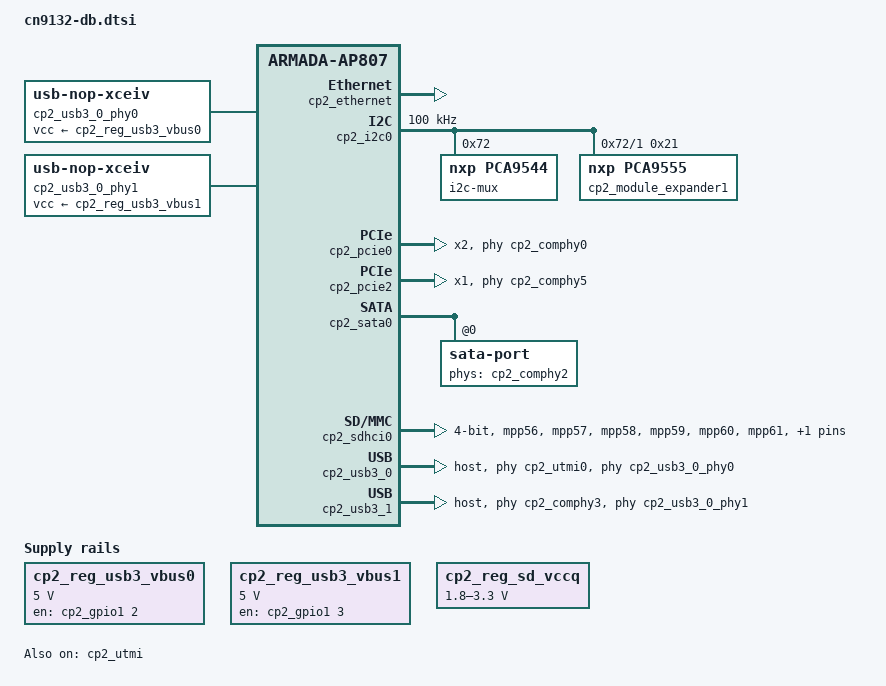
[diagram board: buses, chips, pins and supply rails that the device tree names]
// SPDX-License-Identifier: (GPL-2.0+ OR MIT)
/*
 * Copyright (C) 2020 Marvell International Ltd.
 *
 * Device tree for the CN9132-DB board.
 */

#include "cn9131-db.dtsi"

/ {
	compatible = "marvell,cn9132", "marvell,cn9131", "marvell,cn9130",
		     "marvell,armada-ap807-quad", "marvell,armada-ap807";

	aliases {
		gpio5 = &cp2_gpio1;
		gpio6 = &cp2_gpio2;
		ethernet5 = &cp2_eth0;
	};

	cp2_reg_usb3_vbus0: cp2_usb3_vbus@0 {
		compatible = "regulator-fixed";
		regulator-name = "cp2-xhci0-vbus";
		regulator-min-microvolt = <5000000>;
		regulator-max-microvolt = <5000000>;
		enable-active-high;
		gpio = <&cp2_gpio1 2 GPIO_ACTIVE_HIGH>;
	};

	cp2_usb3_0_phy0: cp2_usb3_phy0 {
		compatible = "usb-nop-xceiv";
		vcc-supply = <&cp2_reg_usb3_vbus0>;
	};

	cp2_reg_usb3_vbus1: cp2_usb3_vbus@1 {
		compatible = "regulator-fixed";
		regulator-name = "cp2-xhci1-vbus";
		regulator-min-microvolt = <5000000>;
		regulator-max-microvolt = <5000000>;
		enable-active-high;
		gpio = <&cp2_gpio1 3 GPIO_ACTIVE_HIGH>;
	};

	cp2_usb3_0_phy1: cp2_usb3_phy1 {
		compatible = "usb-nop-xceiv";
		vcc-supply = <&cp2_reg_usb3_vbus1>;
	};

	cp2_reg_sd_vccq: cp2_sd_vccq@0 {
		compatible = "regulator-gpio";
		regulator-name = "cp2_sd_vcc";
		regulator-min-microvolt = <1800000>;
		regulator-max-microvolt = <3300000>;
		gpios = <&cp2_gpio2 17 GPIO_ACTIVE_HIGH>;
		states = <1800000 0x1 3300000 0x0>;
	};

	cp2_sfp_eth0: sfp-eth0 {
		compatible = "sff,sfp";
		i2c-bus = <&cp2_sfpp0_i2c>;
		los-gpios = <&cp2_module_expander1 11 GPIO_ACTIVE_HIGH>;
		mod-def0-gpios = <&cp2_module_expander1 10 GPIO_ACTIVE_LOW>;
		tx-disable-gpios = <&cp2_module_expander1 9 GPIO_ACTIVE_HIGH>;
		tx-fault-gpios = <&cp2_module_expander1 8 GPIO_ACTIVE_HIGH>;
		/*
		 * SFP cages are unconnected on early PCBs because of an the I2C
		 * lanes not being connected. Prevent the port for being
		 * unusable by disabling the SFP node.
		 */
		status = "disabled";
	};
};

/*
 * Instantiate the second slave CP115
 */

#define CP11X_NAME		cp2
#define CP11X_BASE		f6000000
#define CP11X_PCIEx_MEM_BASE(iface) (0xe5000000 + (iface * 0x1000000))
#define CP11X_PCIEx_MEM_SIZE(iface) 0xf00000
#define CP11X_PCIE0_BASE	f6600000
#define CP11X_PCIE1_BASE	f6620000
#define CP11X_PCIE2_BASE	f6640000

#include "armada-cp115.dtsi"

#undef CP11X_NAME
#undef CP11X_BASE
#undef CP11X_PCIEx_MEM_BASE
#undef CP11X_PCIEx_MEM_SIZE
#undef CP11X_PCIE0_BASE
#undef CP11X_PCIE1_BASE
#undef CP11X_PCIE2_BASE

&cp2_crypto {
	status = "disabled";
};

&cp2_ethernet {
	status = "okay";
};

/* SLM-1521-V2, CON9 */
&cp2_eth0 {
	status = "disabled";
	phy-mode = "10gbase-r";
	/* Generic PHY, providing serdes lanes */
	phys = <&cp2_comphy4 0>;
	managed = "in-band-status";
	sfp = <&cp2_sfp_eth0>;
};

&cp2_gpio1 {
	status = "okay";
};

&cp2_gpio2 {
	status = "okay";
};

&cp2_i2c0 {
	clock-frequency = <100000>;

	/* SLM-1521-V2 - U3 */
	i2c-mux@72 {
		compatible = "nxp,pca9544";
		#address-cells = <1>;
		#size-cells = <0>;
		reg = <0x72>;
		cp2_sfpp0_i2c: i2c@0 {
			#address-cells = <1>;
			#size-cells = <0>;
			reg = <0>;
		};

		i2c@1 {
			#address-cells = <1>;
			#size-cells = <0>;
			reg = <1>;
			/* U12 */
			cp2_module_expander1: pca9555@21 {
				compatible = "nxp,pca9555";
				pinctrl-names = "default";
				gpio-controller;
				#gpio-cells = <2>;
				reg = <0x21>;
			};
		};
	};
};

/* SLM-1521-V2, CON6 */
&cp2_pcie0 {
	status = "okay";
	num-lanes = <2>;
	num-viewport = <8>;
	/* Generic PHY, providing serdes lanes */
	phys = <&cp2_comphy0 0
		&cp2_comphy1 0>;
};

/* SLM-1521-V2, CON8 */
&cp2_pcie2 {
	status = "okay";
	num-lanes = <1>;
	num-viewport = <8>;
	/* Generic PHY, providing serdes lanes */
	phys = <&cp2_comphy5 2>;
};

&cp2_sata0 {
	status = "okay";

	/* SLM-1521-V2, CON4 */
	sata-port@0 {
		/* Generic PHY, providing serdes lanes */
		phys = <&cp2_comphy2 0>;
	};
};

/* CON 2 on SLM-1683 - microSD */
&cp2_sdhci0 {
	status = "okay";
	pinctrl-names = "default";
	pinctrl-0 = <&cp2_sdhci_pins>;
	bus-width = <4>;
	cd-gpios = <&cp2_gpio2 23 GPIO_ACTIVE_LOW>;
	vqmmc-supply = <&cp2_reg_sd_vccq>;
};

&cp2_syscon0 {
	cp2_pinctrl: pinctrl {
		compatible = "marvell,cp115-standalone-pinctrl";

		cp2_i2c0_pins: cp2-i2c-pins-0 {
			marvell,pins = "mpp37", "mpp38";
			marvell,function = "i2c0";
		};
		cp2_sdhci_pins: cp2-sdhi-pins-0 {
			marvell,pins = "mpp56", "mpp57", "mpp58",
				       "mpp59", "mpp60", "mpp61";
			marvell,function = "sdio";
		};
	};
};

&cp2_utmi {
	status = "okay";
};

&cp2_usb3_0 {
	status = "okay";
	usb-phy = <&cp2_usb3_0_phy0>;
	phys = <&cp2_utmi0>;
	phy-names = "usb";
	dr_mode = "host";
};

/* SLM-1521-V2, CON11 */
&cp2_usb3_1 {
	status = "okay";
	usb-phy = <&cp2_usb3_0_phy1>;
	/* Generic PHY, providing serdes lanes */
	phys = <&cp2_comphy3 1>, <&cp2_utmi1>;
	phy-names = "usb", "utmi";
	dr_mode = "host";
};
